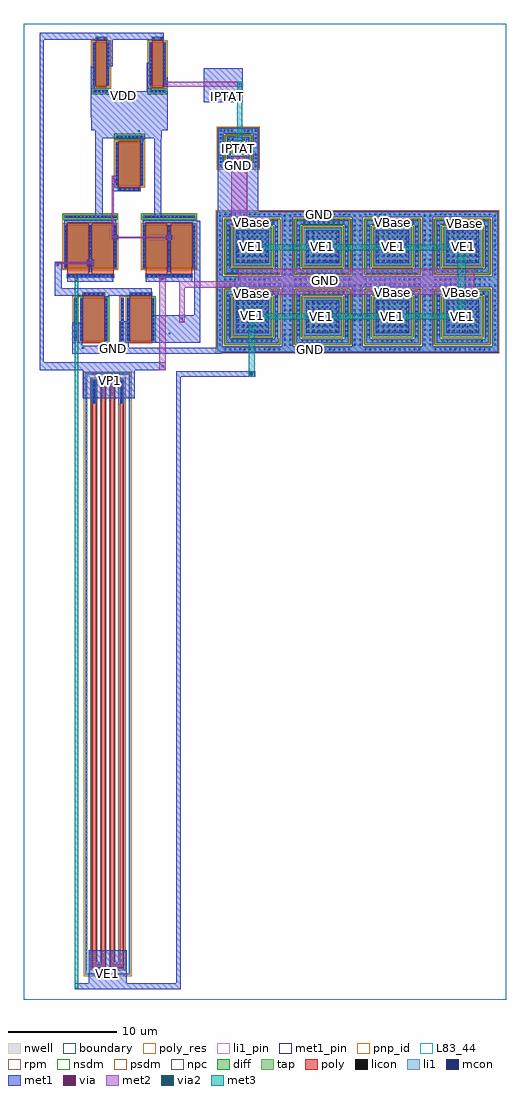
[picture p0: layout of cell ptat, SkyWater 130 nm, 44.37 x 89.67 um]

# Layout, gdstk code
from math import pi, radians
import gdstk
lib = gdstk.Library(unit=1e-6, precision=1e-09)
def R(c, l, rs):  # rectangles x0, y0, x1, y1
    for r in rs: c.add(gdstk.rectangle(r[:2], r[2:], *l))
def A(c, l, x, y, w, h, nx, ny, dx, dy):  # array of equal rectangles
    R(c, l, [(x+i*dx, y+j*dy, x+i*dx+w, y+j*dy+h) for i in range(nx) for j in range(ny)])
def P(c, l, *ps):  # polygons
    for p in ps: c.add(gdstk.Polygon(p, *l))
nwell = (64, 20)
diff = (65, 20)
tap = (65, 44)
poly_res = (66, 13)
poly = (66, 20)
licon = (66, 44)
li1_pin = (67, 16)
li1 = (67, 20)
mcon = (67, 44)
met1_pin = (68, 16)
met1 = (68, 20)
via = (68, 44)
met2 = (69, 20)
via2 = (69, 44)
met3 = (70, 20)
pnp_id = (82, 44)
L83_44 = (83, 44)
rpm = (86, 20)
nsdm = (93, 44)
psdm = (94, 20)
npc = (95, 20)
boundary = (235, 4)

m1m2_c_cdns_778682570065 = lib.new_cell('M1M2_C_CDNS_778682570065')
R(m1m2_c_cdns_778682570065, met1, [(-0.13,-0.16,0.13,0.16)])
R(m1m2_c_cdns_778682570065, via, [(-0.075,-0.075,0.075,0.075)])
R(m1m2_c_cdns_778682570065, met2, [(-0.14,-0.185,0.14,0.185)])

m2m3_c_cdns_778682570062 = lib.new_cell('M2M3_C_CDNS_778682570062')
R(m2m3_c_cdns_778682570062, met2, [(-0.14,-0.185,0.14,0.185)])
R(m2m3_c_cdns_778682570062, via2, [(-0.1,-0.1,0.1,0.1)])
R(m2m3_c_cdns_778682570062, met3, [(-0.165,-0.165,0.165,0.165)])

m1m2_c_cdns_778682570064 = lib.new_cell('M1M2_C_CDNS_778682570064')
R(m1m2_c_cdns_778682570064, met1, [(-0.13,-0.16,0.13,0.16)])
R(m1m2_c_cdns_778682570064, via, [(-0.075,-0.075,0.075,0.075)])
R(m1m2_c_cdns_778682570064, met2, [(-0.13,-0.16,0.13,0.16)])

pfet_01v8_cdns_778682570 = lib.new_cell('pfet_01v8_CDNS_778682570063')
R(pfet_01v8_cdns_778682570, nwell, [(-0.445,-0.18,1.445,4.81)])
R(pfet_01v8_cdns_778682570, diff, [(-0.265,0,0,4), (0,0,1,4), (1,0,1.265,4)])
R(pfet_01v8_cdns_778682570, tap, [(-0.265,4.34,1.265,4.63)])
R(pfet_01v8_cdns_778682570, poly, [(0,-0.46,1,-0.19), (0,-0.19,1,0), (0,0,1,4), (0,4,1,4.15)])
A(pfet_01v8_cdns_778682570, licon, -0.225, 0.215, 0.17, 0.17, 1, 11, 0, 0.34)
A(pfet_01v8_cdns_778682570, licon, 1.055, 0.215, 0.17, 0.17, 1, 11, 0, 0.34)
A(pfet_01v8_cdns_778682570, licon, -0.095, 4.4, 0.17, 0.17, 4, 1, 0.34, 0)
R(pfet_01v8_cdns_778682570, licon, [(0.08,-0.41,0.25,-0.24), (0.75,-0.41,0.92,-0.24)])
R(pfet_01v8_cdns_778682570, li1, [(0,-0.44,1,-0.21), (-0.225,0,-0.055,4), (1.055,0,1.225,4), (-0.255,4.35,1.255,4.62)])
A(pfet_01v8_cdns_778682570, mcon, -0.225, 0.115, 0.17, 0.17, 1, 11, 0, 0.36)
A(pfet_01v8_cdns_778682570, mcon, 1.055, 0.115, 0.17, 0.17, 1, 11, 0, 0.36)
A(pfet_01v8_cdns_778682570, mcon, -0.125, 4.4, 0.17, 0.17, 4, 1, 0.36, 0)
R(pfet_01v8_cdns_778682570, mcon, [(0.08,-0.41,0.25,-0.24), (0.75,-0.41,0.92,-0.24)])
R(pfet_01v8_cdns_778682570, met1, [(0,-0.46,1,-0.19), (-0.255,0,-0.025,4), (1.025,0,1.255,4), (-0.255,4.35,1.255,4.62)])
R(pfet_01v8_cdns_778682570, nsdm, [(-0.395,4.21,1.395,4.76)])
R(pfet_01v8_cdns_778682570, psdm, [(-0.405,-0.13,1.405,4.13)])
R(pfet_01v8_cdns_778682570, npc, [(-0.05,-0.51,1.05,-0.14)])

sky130_fd_pr__res_high_p = lib.new_cell('sky130_fd_pr__res_high_po_0p35_F77MP8')
R(sky130_fd_pr__res_high_p, tap, [(-2.07,-27.65,2.07,-27.48), (-2.07,-27.48,-1.9,27.48), (1.9,-27.48,2.07,27.48), (-2.07,27.48,2.07,27.65)])
R(sky130_fd_pr__res_high_p, poly_res, [(-0.59,-27,0.59,-26.65), (-0.59,-26.65,-0.24,26.65), (0.24,-26.65,0.59,26.65), (-1.42,-24.92,-1.07,26.65), (1.07,-24.92,1.42,26.65), (-1.42,26.65,-0.24,27), (0.24,26.65,1.42,27)])
R(sky130_fd_pr__res_high_p, poly, [(-1.42,-27,-1.07,26.65), (-0.59,-27,0.59,-26.65), (1.07,-27,1.42,26.65), (-0.59,-26.65,-0.24,26.65), (0.24,-26.65,0.59,26.65), (-1.42,26.65,-0.24,27), (0.24,26.65,1.42,27)])
A(sky130_fd_pr__res_high_p, licon, -1.445, -27.65, 0.17, 0.17, 9, 2, 0.34, 55.13)
A(sky130_fd_pr__res_high_p, licon, -2.07, -27.115, 0.17, 0.17, 1, 160, 0, 0.34)
A(sky130_fd_pr__res_high_p, licon, 1.9, -27.115, 0.17, 0.17, 1, 160, 0, 0.34)
R(sky130_fd_pr__res_high_p, licon, [(-1.34,-26.92,-1.15,-24.92), (1.15,-26.92,1.34,-24.92)])
R(sky130_fd_pr__res_high_p, li1, [(-2.07,-27.65,2.07,-27.48), (-2.07,-27.48,-1.9,27.48), (1.9,-27.48,2.07,27.48), (-1.42,-27,-1.07,-24.84), (1.07,-27,1.42,-24.84), (-2.07,27.48,2.07,27.65)])
A(sky130_fd_pr__res_high_p, mcon, -1.33, -26.905, 0.17, 0.17, 1, 6, 0, 0.36)
A(sky130_fd_pr__res_high_p, mcon, 1.16, -26.905, 0.17, 0.17, 1, 6, 0, 0.36)
R(sky130_fd_pr__res_high_p, met1, [(-1.37,-26.97,-1.12,-24.865), (1.12,-26.97,1.37,-24.865)])
R(sky130_fd_pr__res_high_p, rpm, [(-1.62,-27.2,1.62,27.2)])
R(sky130_fd_pr__res_high_p, psdm, [(-2.195,-27.775,2.195,27.775)])
R(sky130_fd_pr__res_high_p, npc, [(-1.515,-27.095,-0.975,26.555), (-0.685,-27.095,0.685,-26.555), (0.975,-27.095,1.515,26.555), (-0.685,-26.555,-0.145,26.555), (0.145,-26.555,0.685,26.555), (-1.515,26.555,-0.145,27.095), (0.145,26.555,1.515,27.095)])
R(sky130_fd_pr__res_high_p, boundary, [(-1.985,-27.565,1.985,27.565)])
sky130_fd_pr__res_high_p.add(gdstk.Label('B', (0,-27.565), layer=67, texttype=5))
sky130_fd_pr__res_high_p.add(gdstk.Label('R1', (-1.245,-26.825), layer=67, texttype=5))
sky130_fd_pr__res_high_p.add(gdstk.Label('R2', (1.245,-26.825), layer=67, texttype=5))

sky130_fd_pr__rf_pnp_05v = lib.new_cell('sky130_fd_pr__rf_pnp_05v5_W3p40L3p40')
R(sky130_fd_pr__rf_pnp_05v, nwell, [(0.765,0.765,5.935,5.935)])
R(sky130_fd_pr__rf_pnp_05v, diff, [(1.65,1.65,5.05,5.05)])
P(sky130_fd_pr__rf_pnp_05v, tap, [(0.945,0.945),(0.945,5.755),(5.395,5.755),(5.395,5.395),(1.305,5.395),(1.305,1.305),(5.395,1.305),(5.395,5.755),(5.755,5.755),(5.755,0.945)],
  [(0.13,0.13),(0.13,6.57),(6.065,6.57),(6.065,6.065),(0.635,6.065),(0.635,0.635),(6.065,0.635),(6.065,6.57),(6.57,6.57),(6.57,0.13)])
A(sky130_fd_pr__rf_pnp_05v, licon, 0.78, 0.29, 0.17, 0.17, 12, 2, 0.45, 5.935)
A(sky130_fd_pr__rf_pnp_05v, licon, 0.3, 0.71, 0.17, 0.17, 1, 13, 0, 0.45)
A(sky130_fd_pr__rf_pnp_05v, licon, 6.235, 0.71, 0.17, 0.17, 1, 13, 0, 0.45)
A(sky130_fd_pr__rf_pnp_05v, licon, 1.43, 1.04, 0.17, 0.17, 9, 1, 0.45, 0)
A(sky130_fd_pr__rf_pnp_05v, licon, 5.49, 1.51, 0.17, 0.17, 1, 9, 0, 0.45)
A(sky130_fd_pr__rf_pnp_05v, licon, 1.04, 1.605, 0.17, 0.17, 1, 9, 0, 0.45)
A(sky130_fd_pr__rf_pnp_05v, licon, 1.92, 1.92, 0.17, 0.17, 7, 7, 0.45, 0.45)
A(sky130_fd_pr__rf_pnp_05v, licon, 1.6, 5.49, 0.17, 0.17, 9, 1, 0.45, 0)
R(sky130_fd_pr__rf_pnp_05v, li1_pin, [(2.77,3.13,4.01,3.65), (2.95,5.51,3.54,5.71), (3.065,6.26,3.57,6.505)])
A(sky130_fd_pr__rf_pnp_05v, li1, 0.58, 0.21, 0.33, 0.33, 12, 1, 0.45, 0)
A(sky130_fd_pr__rf_pnp_05v, li1, 0.675, 0.24, 0.27, 0.27, 11, 2, 0.5, 5.96)
A(sky130_fd_pr__rf_pnp_05v, li1, 6.16, 0.54, 0.33, 0.33, 1, 13, 0, 0.45)
A(sky130_fd_pr__rf_pnp_05v, li1, 0.22, 0.63, 0.33, 0.33, 1, 13, 0, 0.45)
A(sky130_fd_pr__rf_pnp_05v, li1, 1.35, 0.96, 0.33, 0.33, 9, 1, 0.45, 0)
A(sky130_fd_pr__rf_pnp_05v, li1, 1.14, 0.985, 0.27, 0.27, 9, 1, 0.5, 0)
A(sky130_fd_pr__rf_pnp_05v, li1, 5.41, 1.43, 0.33, 0.33, 1, 9, 0, 0.45)
A(sky130_fd_pr__rf_pnp_05v, li1, 0.96, 1.525, 0.33, 0.33, 1, 9, 0, 0.45)
A(sky130_fd_pr__rf_pnp_05v, li1, 1.84, 1.84, 0.33, 0.33, 7, 7, 0.45, 0.45)
A(sky130_fd_pr__rf_pnp_05v, li1, 1.93, 1.93, 0.27, 0.27, 6, 6, 0.5, 0.5)
A(sky130_fd_pr__rf_pnp_05v, li1, 1.52, 5.41, 0.33, 0.33, 9, 1, 0.45, 0)
A(sky130_fd_pr__rf_pnp_05v, li1, 1.155, 5.44, 0.27, 0.27, 9, 1, 0.5, 0)
A(sky130_fd_pr__rf_pnp_05v, li1, 0.7, 6.165, 0.33, 0.33, 12, 1, 0.45, 0)
R(sky130_fd_pr__rf_pnp_05v, li1, [(1.615,1.615,5.085,5.085), (1.65,1.65,5.05,5.05)])
P(sky130_fd_pr__rf_pnp_05v, li1, [(0.13,0.13),(0.13,6.57),(6.075,6.57),(6.075,6.075),(0.625,6.075),(0.625,0.625),(6.075,0.625),(6.075,6.57),(6.57,6.57),(6.57,0.13)],
  [(0.945,0.945),(0.945,5.755),(5.395,5.755),(5.395,5.395),(1.305,5.395),(1.305,1.305),(5.395,1.305),(5.395,5.755),(5.755,5.755),(5.755,0.945)])
A(sky130_fd_pr__rf_pnp_05v, mcon, 1.98, 1.98, 0.17, 0.17, 6, 6, 0.5, 0.5)
A(sky130_fd_pr__rf_pnp_05v, met1, 1.93, 1.93, 0.27, 0.27, 6, 6, 0.5, 0.5)
R(sky130_fd_pr__rf_pnp_05v, met1, [(1.825,1.825,4.875,4.875)])
R(sky130_fd_pr__rf_pnp_05v, pnp_id, [(0.135,0.135,6.565,6.565)])
P(sky130_fd_pr__rf_pnp_05v, nsdm, [(0.805,0.805),(0.805,5.895),(5.265,5.895),(5.265,5.265),(1.435,5.265),(1.435,1.435),(5.265,1.435),(5.265,5.895),(5.895,5.895),(5.895,0.805)])
R(sky130_fd_pr__rf_pnp_05v, psdm, [(1.52,1.52,5.18,5.18)])
P(sky130_fd_pr__rf_pnp_05v, psdm, [(0,0),(0,6.7),(5.935,6.7),(5.935,5.935),(0.765,5.935),(0.765,0.765),(5.935,0.765),(5.935,6.7),(6.7,6.7),(6.7,0)])
sky130_fd_pr__rf_pnp_05v.add(gdstk.Label('Emitter', (3.39,3.39), layer=67, texttype=5))
sky130_fd_pr__rf_pnp_05v.add(gdstk.Label('Collector', (3.32,6.38), layer=67, texttype=5))
sky130_fd_pr__rf_pnp_05v.add(gdstk.Label('Base', (3.245,5.61), layer=67, texttype=5))

bjt = lib.new_cell('bjt')
r = gdstk.Reference(sky130_fd_pr__rf_pnp_05v, (0.03,0.06)); r.repetition = gdstk.Repetition(4, 2, v1=(6.44,0), v2=(0,6.44)); bjt.add(r)

c_sky130_fd_pr__rf_pnp_05v = lib.new_cell('sky130_fd_pr__rf_pnp_05v5_W0p68L0p68')
R(c_sky130_fd_pr__rf_pnp_05v, nwell, [(0.765,0.765,3.215,3.215)])
R(c_sky130_fd_pr__rf_pnp_05v, diff, [(1.65,1.65,2.33,2.33)])
P(c_sky130_fd_pr__rf_pnp_05v, tap, [(0.13,0.13),(0.13,3.85),(3.345,3.85),(3.345,3.345),(0.635,3.345),(0.635,0.635),(3.345,0.635),(3.345,3.85),(3.85,3.85),(3.85,0.13)],
  [(0.945,0.945),(0.945,3.035),(2.675,3.035),(2.675,2.675),(1.305,2.675),(1.305,1.305),(2.675,1.305),(2.675,3.035),(3.035,3.035),(3.035,0.945)])
A(c_sky130_fd_pr__rf_pnp_05v, licon, 0.3, 0.3, 0.17, 0.17, 4, 2, 0.34, 3.21)
A(c_sky130_fd_pr__rf_pnp_05v, licon, 2.49, 0.3, 0.17, 0.17, 4, 2, 0.34, 3.21)
A(c_sky130_fd_pr__rf_pnp_05v, licon, 0.3, 0.64, 0.17, 0.17, 1, 3, 0, 0.34)
A(c_sky130_fd_pr__rf_pnp_05v, licon, 3.51, 0.64, 0.17, 0.17, 1, 3, 0, 0.34)
A(c_sky130_fd_pr__rf_pnp_05v, licon, 0.3, 2.49, 0.17, 0.17, 1, 3, 0, 0.34)
A(c_sky130_fd_pr__rf_pnp_05v, licon, 3.51, 2.49, 0.17, 0.17, 1, 3, 0, 0.34)
R(c_sky130_fd_pr__rf_pnp_05v, licon, [(1.065,1.065,1.235,1.235), (1.405,1.065,1.575,1.235), (2.405,1.065,2.575,1.235), (2.745,1.065,2.915,1.235), (1.065,1.405,1.235,1.575), (2.745,1.405,2.915,1.575), (1.735,1.735,1.905,1.905), (2.075,1.735,2.245,1.905), (1.735,2.075,1.905,2.245), (2.075,2.075,2.245,2.245), (1.065,2.405,1.235,2.575), (2.745,2.405,2.915,2.575), (1.065,2.745,1.235,2.915), (1.405,2.745,1.575,2.915), (2.405,2.745,2.575,2.915), (2.745,2.745,2.915,2.915)])
R(c_sky130_fd_pr__rf_pnp_05v, li1_pin, [(1.875,1.89,2.105,2.11), (3.51,1.915,3.715,2.045), (2.78,1.92,2.915,2.05)])
R(c_sky130_fd_pr__rf_pnp_05v, li1, [(1.595,1.595,2.385,2.385)])
P(c_sky130_fd_pr__rf_pnp_05v, li1, [(0.13,0.13),(0.13,3.85),(3.345,3.85),(3.345,3.345),(0.635,3.345),(0.635,0.635),(3.345,0.635),(3.345,3.85),(3.85,3.85),(3.85,0.13)],
  [(0.945,0.945),(0.945,3.035),(2.675,3.035),(2.675,2.675),(1.305,2.675),(1.305,1.305),(2.675,1.305),(2.675,3.035),(3.035,3.035),(3.035,0.945)])
R(c_sky130_fd_pr__rf_pnp_05v, mcon, [(1.665,1.665,1.835,1.835), (2.145,1.665,2.315,1.835), (1.665,2.145,1.835,2.315), (2.145,2.145,2.315,2.315)])
R(c_sky130_fd_pr__rf_pnp_05v, met1, [(1.575,1.575,2.405,2.405)])
R(c_sky130_fd_pr__rf_pnp_05v, pnp_id, [(0.135,0.135,3.845,3.845)])
P(c_sky130_fd_pr__rf_pnp_05v, L83_44, [(3.345,1.585),(3.345,1.715),(3.35,1.715),(3.35,1.65),(3.37,1.67),(3.37,1.65),(3.825,1.65),(3.825,1.67),(3.845,1.65),(3.845,1.715),(3.85,1.715),(3.85,1.585),(3.845,1.585),(3.845,1.645),(3.825,1.625),(3.825,1.645),(3.37,1.645),(3.37,1.625),(3.35,1.645),(3.35,1.585)],
  [(3.845,3.85),(3.845,3.91),(3.825,3.89),(3.825,3.91),(2.12,3.91),(2.12,3.915),(3.825,3.915),(3.825,3.935),(3.845,3.915),(3.845,3.98),(3.85,3.98),(3.85,3.85)],
  [(0.945,2.76),(0.945,2.89),(0.95,2.89),(0.95,2.825),(0.97,2.845),(0.97,2.825),(1.04,2.825),(1.04,2.845),(1.06,2.825),(1.06,2.89),(1.065,2.89),(1.065,2.76),(1.06,2.76),(1.06,2.82),(1.04,2.8),(1.04,2.82),(0.97,2.82),(0.97,2.8),(0.95,2.82),(0.95,2.76)],
  [(0.975,2.615),(0.975,2.62),(1,2.785),(0.985,2.78),(1.005,2.815),(1.01,2.78),(1.001,2.785)],
  [(0.765,3.035),(0.765,3.165),(0.77,3.165),(0.77,3.1),(0.79,3.12),(0.79,3.1),(1.725,3.1),(1.725,3.095),(0.79,3.095),(0.79,3.075),(0.77,3.095),(0.77,3.035)],
  [(1.65,2.33),(1.65,2.46),(1.655,2.46),(1.655,2.395),(1.675,2.415),(1.675,2.395),(1.885,2.395),(1.885,2.39),(1.675,2.39),(1.675,2.37),(1.655,2.39),(1.655,2.33)],
  [(0.13,3.85),(0.13,3.98),(0.135,3.98),(0.135,3.915),(0.155,3.935),(0.155,3.915),(1.855,3.915),(1.855,3.91),(0.155,3.91),(0.155,3.89),(0.135,3.91),(0.135,3.85)],
  [(3.03,0.815),(3.03,0.875),(3.01,0.855),(3.01,0.875),(2.095,0.875),(2.095,0.88),(3.01,0.88),(3.01,0.9),(3.03,0.88),(3.03,0.945),(3.035,0.945),(3.035,0.815)],
  [(0.945,0.815),(0.945,0.945),(0.95,0.945),(0.95,0.88),(0.97,0.9),(0.97,0.88),(1.885,0.88),(1.885,0.875),(0.97,0.875),(0.97,0.855),(0.95,0.875),(0.95,0.815)],
  [(1.959,1.951),(1.951,1.959),(1.982,1.99),(1.951,2.021),(1.959,2.029),(1.99,1.998),(2.021,2.029),(2.029,2.021),(1.998,1.99),(2.029,1.959),(2.021,1.951),(1.99,1.982)],
  [(2.325,2.33),(2.325,2.39),(2.305,2.37),(2.305,2.39),(2.095,2.39),(2.095,2.395),(2.305,2.395),(2.305,2.415),(2.325,2.395),(2.325,2.46),(2.33,2.46),(2.33,2.33)],
  [(1.81,0.615),(1.81,0.745),(1.815,0.745),(1.815,0.68),(1.835,0.7),(1.835,0.68),(2.145,0.68),(2.145,0.7),(2.165,0.68),(2.165,0.745),(2.17,0.745),(2.17,0.615),(2.165,0.615),(2.165,0.675),(2.145,0.655),(2.145,0.675),(1.835,0.675),(1.835,0.655),(1.815,0.675),(1.815,0.615)],
  [(0.945,2.145),(0.945,2.275),(0.95,2.275),(0.95,2.21),(0.97,2.23),(0.97,2.21),(1.28,2.21),(1.28,2.23),(1.3,2.21),(1.3,2.275),(1.305,2.275),(1.305,2.145),(1.3,2.145),(1.3,2.205),(1.28,2.185),(1.28,2.205),(0.97,2.205),(0.97,2.185),(0.95,2.205),(0.95,2.145)],
  [(2.33,1.585),(2.33,1.715),(2.335,1.715),(2.335,1.65),(2.355,1.67),(2.355,1.65),(2.65,1.65),(2.65,1.67),(2.67,1.65),(2.67,1.715),(2.675,1.715),(2.675,1.585),(2.67,1.585),(2.67,1.645),(2.65,1.625),(2.65,1.645),(2.355,1.645),(2.355,1.625),(2.335,1.645),(2.335,1.585)],
  [(3.21,3.035),(3.21,3.095),(3.19,3.075),(3.19,3.095),(2.26,3.095),(2.26,3.1),(3.19,3.1),(3.19,3.12),(3.21,3.1),(3.21,3.165),(3.215,3.165),(3.215,3.035)],
  [(3.035,2.6),(3.035,2.73),(3.04,2.73),(3.04,2.665),(3.06,2.685),(3.06,2.665),(3.32,2.665),(3.32,2.685),(3.34,2.665),(3.34,2.73),(3.345,2.73),(3.345,2.6),(3.34,2.6),(3.34,2.66),(3.32,2.64),(3.32,2.66),(3.06,2.66),(3.06,2.64),(3.04,2.66),(3.04,2.6)])
P(c_sky130_fd_pr__rf_pnp_05v, nsdm, [(0.815,0.815),(0.815,3.165),(2.545,3.165),(2.545,2.545),(1.435,2.545),(1.435,1.435),(2.545,1.435),(2.545,3.165),(3.165,3.165),(3.165,0.815)])
R(c_sky130_fd_pr__rf_pnp_05v, psdm, [(1.52,1.52,2.46,2.46)])
P(c_sky130_fd_pr__rf_pnp_05v, psdm, [(0,0),(0,3.98),(3.215,3.98),(3.215,3.215),(0.765,3.215),(0.765,0.765),(3.215,0.765),(3.215,3.98),(3.98,3.98),(3.98,0)])
c_sky130_fd_pr__rf_pnp_05v.add(gdstk.Label('0.068', (1.99,2.4), layer=83, texttype=44))
c_sky130_fd_pr__rf_pnp_05v.add(gdstk.Label('2.090', (1.99,0.885), layer=83, texttype=44))
c_sky130_fd_pr__rf_pnp_05v.add(gdstk.Label('0.310', (3.19,2.725), layer=83, texttype=44))
c_sky130_fd_pr__rf_pnp_05v.add(gdstk.Label('3.720', (1.99,3.92), layer=83, texttype=44))
c_sky130_fd_pr__rf_pnp_05v.add(gdstk.Label('0.505', (3.595,1.71), layer=83, texttype=44))
c_sky130_fd_pr__rf_pnp_05v.add(gdstk.Label('adj. sides', (0.845,2.48), layer=83, texttype=44))
c_sky130_fd_pr__rf_pnp_05v.add(gdstk.Label('0.12 min', (0.845,2.585), layer=83, texttype=44))
c_sky130_fd_pr__rf_pnp_05v.add(gdstk.Label('0.345', (2.5,1.71), layer=83, texttype=44))
c_sky130_fd_pr__rf_pnp_05v.add(gdstk.Label('2.450(nwell)', (1.99,3.105), layer=83, texttype=44))
c_sky130_fd_pr__rf_pnp_05v.add(gdstk.Label('0.360', (1.985,0.74), layer=83, texttype=44))
c_sky130_fd_pr__rf_pnp_05v.add(gdstk.Label('0.360', (1.12,2.27), layer=83, texttype=44))
c_sky130_fd_pr__rf_pnp_05v.add(gdstk.Label('Use 12 licons in base to match PNP model', (2.025,1.115), layer=83, texttype=44))
c_sky130_fd_pr__rf_pnp_05v.add(gdstk.Label('Use 28 licons in collector to match PNP model', (2.025,0.45), layer=83, texttype=44))
c_sky130_fd_pr__rf_pnp_05v.add(gdstk.Label('Base', (2.85,1.985), layer=67, texttype=5))
c_sky130_fd_pr__rf_pnp_05v.add(gdstk.Label('Collector', (3.615,1.98), layer=67, texttype=5))
c_sky130_fd_pr__rf_pnp_05v.add(gdstk.Label('Emitter', (1.99,2), layer=67, texttype=5))

c_pfet_01v8_cdns_778682570 = lib.new_cell('pfet_01v8_CDNS_778682570062')
R(c_pfet_01v8_cdns_778682570, nwell, [(-0.445,-0.18,2.445,4.81)])
R(c_pfet_01v8_cdns_778682570, diff, [(-0.265,0,0,4), (0,0,2,4), (2,0,2.265,4)])
R(c_pfet_01v8_cdns_778682570, tap, [(-0.265,4.34,2.265,4.63)])
R(c_pfet_01v8_cdns_778682570, poly, [(0,-0.46,2,-0.19), (0,-0.19,2,0), (0,0,2,4), (0,4,2,4.15)])
A(c_pfet_01v8_cdns_778682570, licon, 0.08, -0.41, 0.17, 0.17, 3, 1, 0.42, 0)
A(c_pfet_01v8_cdns_778682570, licon, -0.225, 0.215, 0.17, 0.17, 1, 11, 0, 0.34)
A(c_pfet_01v8_cdns_778682570, licon, 2.055, 0.215, 0.17, 0.17, 1, 11, 0, 0.34)
A(c_pfet_01v8_cdns_778682570, licon, -0.105, 4.4, 0.17, 0.17, 7, 1, 0.34, 0)
R(c_pfet_01v8_cdns_778682570, licon, [(1.335,-0.41,1.505,-0.24), (1.75,-0.41,1.92,-0.24)])
R(c_pfet_01v8_cdns_778682570, li1, [(0,-0.44,2,-0.21), (-0.225,0,-0.055,4), (2.055,0,2.225,4), (-0.255,4.35,2.255,4.62)])
A(c_pfet_01v8_cdns_778682570, mcon, 0.08, -0.41, 0.17, 0.17, 3, 1, 0.42, 0)
A(c_pfet_01v8_cdns_778682570, mcon, -0.225, 0.115, 0.17, 0.17, 1, 11, 0, 0.36)
A(c_pfet_01v8_cdns_778682570, mcon, 2.055, 0.115, 0.17, 0.17, 1, 11, 0, 0.36)
A(c_pfet_01v8_cdns_778682570, mcon, -0.165, 4.4, 0.17, 0.17, 7, 1, 0.36, 0)
R(c_pfet_01v8_cdns_778682570, mcon, [(1.335,-0.41,1.505,-0.24), (1.75,-0.41,1.92,-0.24)])
R(c_pfet_01v8_cdns_778682570, met1, [(0,-0.46,2,-0.19), (-0.255,0,-0.025,4), (2.025,0,2.255,4), (-0.255,4.35,2.255,4.62)])
R(c_pfet_01v8_cdns_778682570, nsdm, [(-0.395,4.21,2.395,4.76)])
R(c_pfet_01v8_cdns_778682570, psdm, [(-0.405,-0.13,2.405,4.13)])
R(c_pfet_01v8_cdns_778682570, npc, [(-0.05,-0.51,2.05,-0.14)])

nfet_01v8_cdns_778682570 = lib.new_cell('nfet_01v8_CDNS_778682570061')
R(nfet_01v8_cdns_778682570, diff, [(-0.265,0,0,4), (0,0,2,4), (2,0,2.265,4)])
R(nfet_01v8_cdns_778682570, tap, [(-0.825,0,-0.535,4)])
R(nfet_01v8_cdns_778682570, poly, [(0,-0.15,2,0), (0,0,2,4), (0,4,2,4.19), (0,4.19,2,4.46)])
A(nfet_01v8_cdns_778682570, licon, -0.765, 0.215, 0.17, 0.17, 1, 11, 0, 0.34)
A(nfet_01v8_cdns_778682570, licon, -0.225, 0.215, 0.17, 0.17, 1, 11, 0, 0.34)
A(nfet_01v8_cdns_778682570, licon, 2.055, 0.215, 0.17, 0.17, 1, 11, 0, 0.34)
A(nfet_01v8_cdns_778682570, licon, 0.08, 4.24, 0.17, 0.17, 3, 1, 0.42, 0)
R(nfet_01v8_cdns_778682570, licon, [(1.335,4.24,1.505,4.41), (1.75,4.24,1.92,4.41)])
R(nfet_01v8_cdns_778682570, li1, [(-0.815,0,-0.545,4), (-0.225,0,-0.055,4), (2.055,0,2.225,4), (0,4.21,2,4.44)])
A(nfet_01v8_cdns_778682570, mcon, -0.765, 0.115, 0.17, 0.17, 1, 11, 0, 0.36)
A(nfet_01v8_cdns_778682570, mcon, -0.225, 0.115, 0.17, 0.17, 1, 11, 0, 0.36)
A(nfet_01v8_cdns_778682570, mcon, 2.055, 0.115, 0.17, 0.17, 1, 11, 0, 0.36)
A(nfet_01v8_cdns_778682570, mcon, 0.08, 4.24, 0.17, 0.17, 3, 1, 0.42, 0)
R(nfet_01v8_cdns_778682570, mcon, [(1.335,4.24,1.505,4.41), (1.75,4.24,1.92,4.41)])
R(nfet_01v8_cdns_778682570, met1, [(-0.815,0,-0.545,4), (-0.255,0,-0.025,4), (2.025,0,2.255,4), (0,4.19,2,4.46)])
R(nfet_01v8_cdns_778682570, nsdm, [(-0.405,-0.13,2.405,4.13)])
R(nfet_01v8_cdns_778682570, psdm, [(-0.965,-0.14,-0.395,4.14)])
R(nfet_01v8_cdns_778682570, npc, [(-0.05,4.14,2.05,4.51)])

c_pfet_01v8_cdns_778682570_ = lib.new_cell('pfet_01v8_CDNS_778682570060')
R(c_pfet_01v8_cdns_778682570_, nwell, [(-0.445,-0.18,4.725,5.05)])
R(c_pfet_01v8_cdns_778682570_, diff, [(-0.265,0,0,4), (0,0,2,4), (2,0,2.28,4), (2.28,0,4.28,4), (4.28,0,4.545,4)])
R(c_pfet_01v8_cdns_778682570_, tap, [(-0.265,4.58,4.545,4.87)])
R(c_pfet_01v8_cdns_778682570_, poly, [(0,-0.86,4.28,-0.59), (0,-0.59,2,0), (2.28,-0.59,4.28,0), (0,0,2,4), (2.28,0,4.28,4), (0,4,2,4.15), (2.28,4,4.28,4.15)])
A(c_pfet_01v8_cdns_778682570_, licon, 0.08, -0.81, 0.17, 0.17, 10, 1, 0.36, 0)
A(c_pfet_01v8_cdns_778682570_, licon, -0.225, 0.215, 0.17, 0.17, 3, 11, 2.28, 0.34)
A(c_pfet_01v8_cdns_778682570_, licon, 0.015, 4.64, 0.17, 0.17, 13, 1, 0.34, 0)
R(c_pfet_01v8_cdns_778682570_, licon, [(3.675,-0.81,3.845,-0.64), (4.03,-0.81,4.2,-0.64)])
A(c_pfet_01v8_cdns_778682570_, li1, -0.225, 0, 0.17, 4, 3, 1, 2.28, 0)
R(c_pfet_01v8_cdns_778682570_, li1, [(0,-0.84,4.28,-0.61), (-0.255,4.59,4.535,4.86)])
A(c_pfet_01v8_cdns_778682570_, mcon, 0.08, -0.81, 0.17, 0.17, 11, 1, 0.395, 0)
A(c_pfet_01v8_cdns_778682570_, mcon, -0.225, 0.115, 0.17, 0.17, 3, 11, 2.28, 0.36)
A(c_pfet_01v8_cdns_778682570_, mcon, -0.105, 4.64, 0.17, 0.17, 13, 1, 0.36, 0)
A(c_pfet_01v8_cdns_778682570_, met1, -0.255, 0, 0.23, 4, 3, 1, 2.28, 0)
R(c_pfet_01v8_cdns_778682570_, met1, [(0,-0.86,4.28,-0.59), (2.025,-0.4,2.255,-0.17), (2.025,-0.17,2.255,0), (-0.255,4,-0.025,4.17), (4.305,4,4.535,4.17), (-0.255,4.17,4.535,4.4), (-0.255,4.59,4.535,4.86)])
R(c_pfet_01v8_cdns_778682570_, nsdm, [(-0.395,4.45,4.675,5)])
R(c_pfet_01v8_cdns_778682570_, psdm, [(-0.405,-0.13,4.685,4.13)])
R(c_pfet_01v8_cdns_778682570_, npc, [(-0.05,-0.91,4.33,-0.54)])

ota = lib.new_cell('ota')
R(ota, met1_pin, [(3.005,0.66,3.145,0.8), (10.99,2.025,11.13,2.165), (2.335,6.93,2.565,7.175), (10.365,7.04,10.505,7.18), (8.185,20.63,8.3,20.725)])
R(ota, met1, [(2.12,0.215,7.32,0.945), (2.12,0.555,3.02,3.08), (6.455,0.555,7.32,3.22), (9.495,1.215,13.875,3.73), (13.3,1.215,13.875,12.435), (5.075,3.525,5.36,6.08), (0.485,5.54,1.13,8.645), (0.485,5.54,9.41,6.21), (1.645,6.825,5.885,7.465), (8.88,6.825,13.12,7.465), (3.5,8.26,4.075,8.855), (5.755,10.75,6.33,11.11), (10.72,10.75,11.295,11.11), (4.245,12.685,4.91,20.905), (9.645,12.69,10.31,20.91), (5.76,15.14,6.605,15.475), (5.76,15.14,6.305,16.565), (8.375,19.415,8.65,20.375), (4.245,19.995,10.335,20.91)])
R(ota, met2, [(0.485,8.495,4.075,8.64), (5.76,10.765,5.915,16.565), (5.785,10.83,11.15,10.975)])
ota.add(gdstk.Reference(m1m2_c_cdns_778682570064, (0.795,8.44)))
ota.add(gdstk.Reference(m1m2_c_cdns_778682570064, (3.835,8.595)))
ota.add(gdstk.Reference(m1m2_c_cdns_778682570064, (10.96,10.91)))
ota.add(gdstk.Reference(m1m2_c_cdns_778682570064, (5.95,10.93)))
ota.add(gdstk.Reference(m1m2_c_cdns_778682570064, (5.96,16.075)))
ota.add(gdstk.Reference(c_pfet_01v8_cdns_778682570, (6.36,15.645)))
ota.add(gdstk.Reference(nfet_01v8_cdns_778682570, (3.09,1.345)))
ota.add(gdstk.Reference(nfet_01v8_cdns_778682570, (7.4,1.345)))
ota.add(gdstk.Reference(c_pfet_01v8_cdns_778682570_, (1.635,8.085)))
ota.add(gdstk.Reference(c_pfet_01v8_cdns_778682570_, (8.86,8.085)))

ptat = lib.new_cell('ptat')
R(ptat, met1_pin, [(8.42,59.29,8.56,59.43), (18.915,82.425,19.055,82.565), (9.36,82.545,9.5,82.685)])
R(ptat, met1, [(4.95,0.49,14.66,1.05), (6.23,0.49,9.75,4.07), (14.3,0.51,14.7,57.25), (5.7,54.8,10.45,58.07), (14.285,56.77,21.525,57.27), (1.72,57.37,13.33,58.08), (1.73,57.42,2.11,88.35), (8.28,58.89,18.46,59.45), (18.04,58.98,43.86,59.54), (43.32,59.03,43.85,71.99), (18.01,59.07,18.55,71.93), (23.97,59.07,25.01,71.93), (30.43,59.07,31.43,71.93), (36.87,59.07,37.87,71.93), (25.33,59.85,30.12,60.23), (31.77,59.85,36.56,60.23), (38.2,59.85,42.99,60.23), (18.87,59.86,19.21,64.66), (18.89,59.86,23.68,60.24), (23.33,59.86,23.67,64.66), (25.32,59.86,25.66,64.66), (29.75,59.86,30.09,64.66), (31.76,59.86,32.1,64.66), (36.2,59.86,36.54,64.66), (38.21,59.86,38.55,64.66), (42.65,59.86,42.99,64.66), (18.89,64.29,23.68,64.67), (25.33,64.29,30.12,64.67), (31.77,64.3,36.56,64.68), (38.18,64.3,42.97,64.68), (18.03,64.98,43.79,66.01), (18.87,66.29,23.66,66.67), (25.33,66.29,30.12,66.67), (31.77,66.29,36.56,66.67), (18.87,66.31,19.21,71.11), (23.33,66.31,23.67,71.11), (25.32,66.31,25.66,71.11), (29.75,66.31,30.09,71.11), (31.76,66.31,32.1,71.11), (36.2,66.31,36.54,71.11), (38.2,66.31,38.54,71.11), (42.65,66.31,42.99,71.11), (38.18,66.32,42.97,66.7), (38.19,66.32,42.98,66.7), (38.19,66.32,42.98,66.7), (18.87,70.75,23.66,71.13), (25.33,70.75,30.12,71.13), (31.72,70.75,36.51,71.13), (38.18,70.75,42.97,71.13), (17.98,71.43,43.82,71.97), (18.11,71.69,21.83,76.41), (21.29,75.9,21.83,79.61), (18.11,75.93,18.61,79.61), (18.96,76.72,20.97,77.07), (20.67,76.72,21.01,78.82), (18.95,76.73,19.29,78.79), (18.96,78.44,21,78.82), (18.17,79.11,21.78,79.59), (6.48,79.41,13.48,81.04), (6.445,80.625,13.48,82.99), (6.41,81.745,6.81,85.24), (11.565,81.76,11.965,85.605), (16.81,81.98,20.38,85.13), (13.13,83.365,13.485,84.215), (8.055,85.31,8.425,88.345), (7.905,85.59,8.12,86.19), (1.735,87.71,13.13,88.36)])
R(ptat, met2, [(12.71,57.36,13.33,65.99), (14.54,61.77,15.07,65.54), (19.97,64.29,41.66,66.68), (14.55,64.96,20.86,65.56), (19.33,70.7,20.8,77.02), (13.205,83.415,20.395,83.855)])
R(ptat, met3, [(4.94,0.52,5.3,65.87), (20.94,56.78,21.5,62.6), (20.96,62.04,40.91,62.6), (40.15,62.06,40.86,68.94), (20.96,68.39,40.91,68.95), (19.89,77.39,20.36,83.87)])
R(ptat, boundary, [(0.25,-0.45,44.62,89.22)])
ptat.add(gdstk.Reference(m1m2_c_cdns_778682570065, (21.17,57.01)))
ptat.add(gdstk.Reference(m1m2_c_cdns_778682570065, (21.24,62.34)))
ptat.add(gdstk.Reference(m1m2_c_cdns_778682570065, (40.49,62.34)))
ptat.add(gdstk.Reference(m1m2_c_cdns_778682570065, (27.61,62.36)))
ptat.add(gdstk.Reference(m1m2_c_cdns_778682570065, (34.01,62.39)))
ptat.add(gdstk.Reference(m1m2_c_cdns_778682570065, (27.71,68.67)))
ptat.add(gdstk.Reference(m1m2_c_cdns_778682570065, (40.45,68.67)))
ptat.add(gdstk.Reference(m1m2_c_cdns_778682570065, (21.33,68.71)))
ptat.add(gdstk.Reference(m1m2_c_cdns_778682570065, (34.26,68.71)))
ptat.add(gdstk.Reference(m1m2_c_cdns_778682570065, (20.11,77.76)))
ptat.add(gdstk.Reference(m1m2_c_cdns_778682570065, (20.115,83.64)))
ptat.add(gdstk.Reference(m2m3_c_cdns_778682570062, (21.17,57.01)))
ptat.add(gdstk.Reference(m2m3_c_cdns_778682570062, (21.24,62.34)))
ptat.add(gdstk.Reference(m2m3_c_cdns_778682570062, (40.49,62.34)))
ptat.add(gdstk.Reference(m2m3_c_cdns_778682570062, (27.61,62.36)))
ptat.add(gdstk.Reference(m2m3_c_cdns_778682570062, (34.01,62.39)))
ptat.add(gdstk.Reference(m2m3_c_cdns_778682570062, (27.71,68.67)))
ptat.add(gdstk.Reference(m2m3_c_cdns_778682570062, (40.45,68.67)))
ptat.add(gdstk.Reference(m2m3_c_cdns_778682570062, (21.33,68.71)))
ptat.add(gdstk.Reference(m2m3_c_cdns_778682570062, (34.26,68.71)))
ptat.add(gdstk.Reference(m2m3_c_cdns_778682570062, (20.11,77.76)))
ptat.add(gdstk.Reference(m2m3_c_cdns_778682570062, (20.115,83.64)))
ptat.add(gdstk.Reference(m1m2_c_cdns_778682570064, (13.04,57.76)))
ptat.add(gdstk.Reference(m1m2_c_cdns_778682570064, (14.8,62.1)))
ptat.add(gdstk.Reference(m1m2_c_cdns_778682570064, (20.45,64.54)))
ptat.add(gdstk.Reference(m1m2_c_cdns_778682570064, (12.95,65.77)))
ptat.add(gdstk.Reference(m1m2_c_cdns_778682570064, (20.06,70.94)))
ptat.add(gdstk.Reference(m1m2_c_cdns_778682570064, (20.03,76.86)))
ptat.add(gdstk.Reference(m1m2_c_cdns_778682570064, (13.365,83.645)))
ptat.add(gdstk.Reference(pfet_01v8_cdns_778682570, (12.07,87.49), x_reflection=True))
ptat.add(gdstk.Reference(pfet_01v8_cdns_778682570, (6.88,87.495), x_reflection=True))
ptat.add(gdstk.Reference(sky130_fd_pr__res_high_p, (8,29.46), rotation=pi))
ptat.add(gdstk.Reference(bjt, (17.89,58.86)))
ptat.add(gdstk.Reference(c_sky130_fd_pr__rf_pnp_05v, (17.99,75.77)))
ptat.add(gdstk.Reference(ota, (2.615,58.665)))
ptat.add(gdstk.Label('VDD', (9.43,82.615), layer=83, texttype=44))
ptat.add(gdstk.Label('GND', (8.49,59.36), layer=83, texttype=44))
ptat.add(gdstk.Label('IPTAT', (18.985,82.495), layer=83, texttype=44))
ptat.add(gdstk.Label('VP1', (8.27,56.46), layer=68, texttype=5))
ptat.add(gdstk.Label('IPTAT', (19.99,77.78), layer=68, texttype=5))
ptat.add(gdstk.Label('VE1', (8.01,1.91), layer=68, texttype=5))
ptat.add(gdstk.Label('VE1', (40.57,62.26), layer=68, texttype=5))
ptat.add(gdstk.Label('VE1', (34.18,62.28), layer=68, texttype=5))
ptat.add(gdstk.Label('VE1', (27.66,62.33), layer=68, texttype=5))
ptat.add(gdstk.Label('VE1', (21.27,62.36), layer=68, texttype=5))
ptat.add(gdstk.Label('VE1', (21.24,68.72), layer=68, texttype=5))
ptat.add(gdstk.Label('VE1', (34.24,68.73), layer=68, texttype=5))
ptat.add(gdstk.Label('VE1', (40.65,68.74), layer=68, texttype=5))
ptat.add(gdstk.Label('VE1', (27.7,68.76), layer=68, texttype=5))
ptat.add(gdstk.Label('GND', (26.59,59.23), layer=68, texttype=5))
ptat.add(gdstk.Label('GND', (28.01,65.57), layer=68, texttype=5))
ptat.add(gdstk.Label('GND', (27.41,71.64), layer=68, texttype=5))
ptat.add(gdstk.Label('GND', (19.99,76.15), layer=68, texttype=5))
ptat.add(gdstk.Label('VBase', (21.21,64.42), layer=68, texttype=5))
ptat.add(gdstk.Label('VBase', (27.64,64.47), layer=68, texttype=5))
ptat.add(gdstk.Label('VBase', (34.12,64.47), layer=68, texttype=5))
ptat.add(gdstk.Label('VBase', (40.42,64.52), layer=68, texttype=5))
ptat.add(gdstk.Label('VBase', (40.79,70.86), layer=68, texttype=5))
ptat.add(gdstk.Label('VBase', (21.18,70.95), layer=68, texttype=5))
ptat.add(gdstk.Label('VBase', (34.12,70.95), layer=68, texttype=5))
ptat.add(gdstk.Label('VBase', (27.53,70.98), layer=68, texttype=5))
ptat.add(gdstk.Label('VBase', (19.9,78.69), layer=68, texttype=5))

lib.write_gds('ptat.gds')
